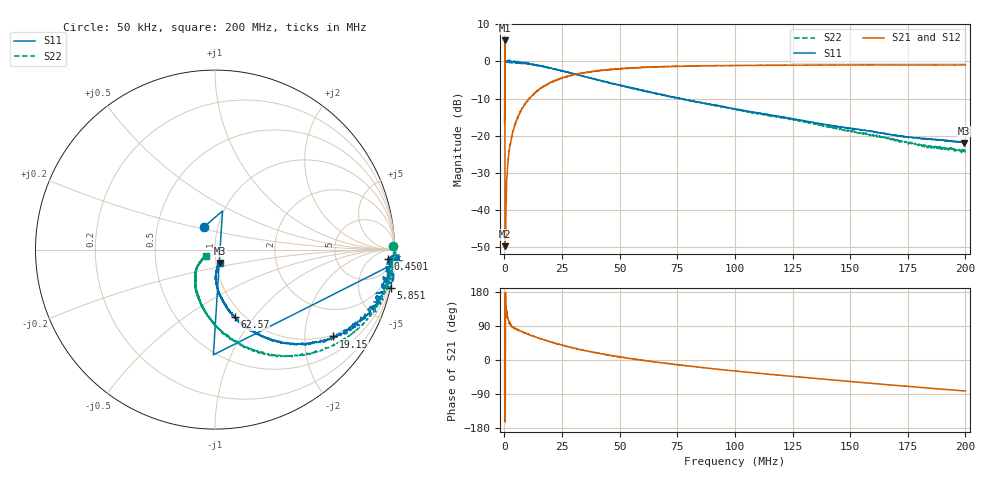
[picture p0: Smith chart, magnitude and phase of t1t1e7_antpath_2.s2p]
! 27-Aug-26 2:36:45 PM
! E:\20260827_VNA\T1T1E7_ANTPATH_2.S2P
! CHANNEL.1
! TR.MEASUREMENT
! CORRECTED.DATA
# GHZ S RI R 50.0
! FREQ.GHZ  S11RE  S11IM  S21RE  S21IM  S12RE  S12IM  S22RE  S22IM
!; PortSelection: Port_12
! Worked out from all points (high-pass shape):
!   2000 points, 50 kHz to 200 MHz, reference 50 ohm
!   highest |S21| = 5.66 dB at 150 kHz (marker M1); lowest = -49.8 dB at 250 kHz (marker M2)
!   |S21| within 3 dB of the highest: 136.1 kHz to 155.4 kHz (19.33 kHz wide, 13.3 % of centre)
!   lowest |S11| = -22.0 dB at 199.4 MHz (marker M3), VSWR 1.17, Z = 52.1 - j7.88 ohm
!   |S11| at or under -10 dB: start of sweep to 187.3 kHz; 75.85186 MHz to 75.89062 MHz (38.76 kHz wide, 0.0511 % of centre); 76.41 MHz to end of sweep
!   |S22| runs from -24.6 to 0.1 dB; largest |S21 - S12| = 1.9
!   S11 on the Smith chart (normalised r, x): 50 kHz: 0.86, +0.22; 450.1 kHz: 17, -26; 5.851 MHz: -0.11, -9.31; 19.15 MHz: 0.95, -2.76; 62.57 MHz: 0.90, -0.81; 200 MHz: 1.04, -0.16
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5e-05  -0.0607 0.1272  0.00381 -0.1603  -0.00304 0.00159  0.9938 0.0206
0.000150025  0.0418 0.215  -1.912 0.169  -0.00123 0.00323  1.016 -0.00887
0.00025005  -0.0089 -0.5866  -0.00312 -0.000925  0.0018 0.00415  1.008 -0.0147
0.0004501  0.9632 -0.0512  -0.00571 0.000128  -0.00111 0.0116  0.9927 -0.00675
0.001150275  1.022 -0.0596  -0.018 0.0221  -0.0032 0.0325  0.99 -0.0461
0.0012503  0.9833 -0.0703  -0.0165 0.0321  -0.00188 0.0352  0.9986 -0.0651
0.001350325  1.027 -0.0517  -0.0131 0.0354  -0.00273 0.0395  0.996 -0.0614
0.0016504  0.9998 -0.0254  -0.0116 0.0461  -0.00292 0.048  0.9839 -0.0729
0.002150525  0.9587 -0.0815  -0.00654 0.065  -0.000725 0.0623  0.9805 -0.0937
0.003750925  0.9524 -0.122  0.00551 0.114  0.0091 0.1116  0.9685 -0.1634
0.005851451  0.9797 -0.213  0.0356 0.1813  0.0342 0.1777  0.9412 -0.2356
0.01115278  0.8647 -0.3546  0.133 0.2999  0.1353 0.3003  0.8294 -0.4092
0.01915478  0.6586 -0.4838  0.3277 0.3789  0.3245 0.3855  0.6114 -0.5536
0.03345835  0.3771 -0.5178  0.6275 0.3091  0.6179 0.3151  0.2716 -0.582
0.04636158  0.2163 -0.4579  0.7583 0.1542  0.7661 0.156  0.0975 -0.4999
0.06256563  0.1093 -0.3766  0.8379 -0.0376  0.838 -0.0418  -0.0297 -0.3877
0.06676668  0.09 -0.3556  0.843 -0.0899  0.8448 -0.0908  -0.0468 -0.361
0.100075  0.0158 -0.2297  0.7691 -0.4332  0.7716 -0.4309  -0.1125 -0.1983
0.1333833  0.0035 -0.152  0.6025 -0.6634  0.6058 -0.6629  -0.1029 -0.1051
0.1666917  0.0109 -0.1044  0.3728 -0.8199  0.3716 -0.8199  -0.0737 -0.057
0.1993998  0.0266 -0.0751  0.1333 -0.8914  0.1403 -0.8902  -0.048 -0.0381
0.2  0.028 -0.0764  0.1314 -0.8898  0.1316 -0.8859  -0.0499 -0.0376
